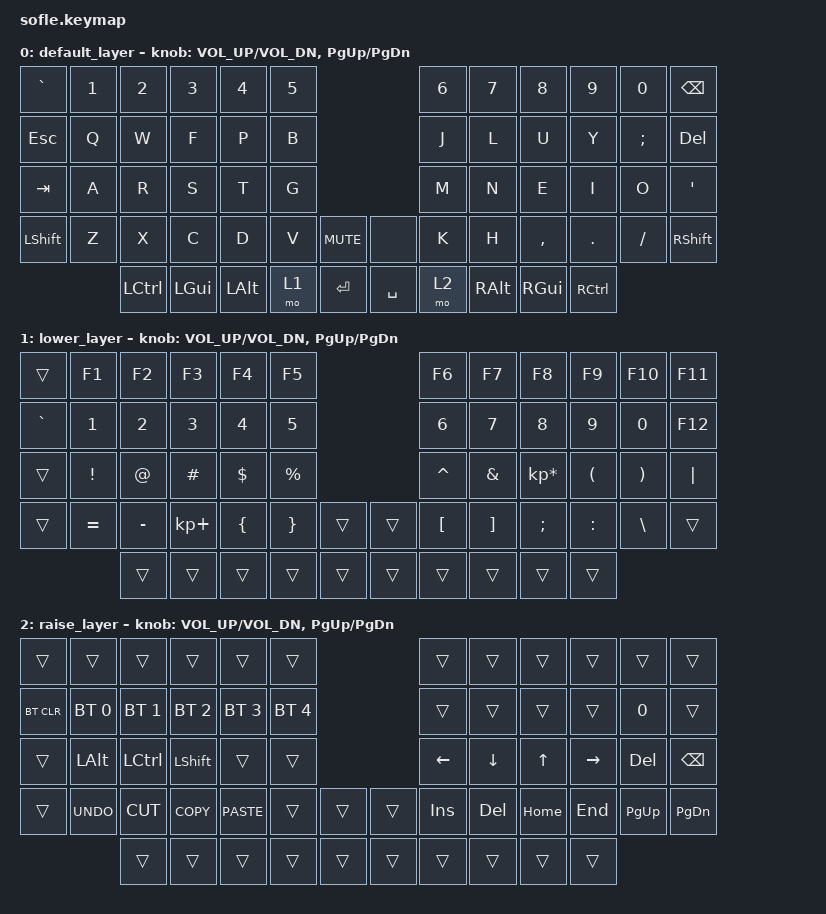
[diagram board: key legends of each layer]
/*
 * Copyright (c) 2020 The ZMK Contributors
 *
 * SPDX-License-Identifier: MIT
 */

#include <behaviors.dtsi>
#include <dt-bindings/zmk/keys.h>
#include <dt-bindings/zmk/bt.h>

/ {
    keymap {
        compatible = "zmk,keymap";

        default_layer {
// ------------------------------------------------------------------------------------------------------------
// |  `    |  1  |  2  |  3   |  4   |  5   |                   |  6   |  7    |  8    |  9   |   0   | BKSP  |
// |  ESC  |  Q  |  W  |  F   |  P   |  B   |                   |  J   |  L    |  U    |  Y   |   ;   |  DEL  |
// |  TAB  |  A  |  R  |  S   |  T   |  G   |                   |  M   |  N    |  E    |  I   |   O   |   '   |
// | SHIFT |  Z  |  X  |  C   |  D   |  V   |  MUTE  |  |       |  K   |  H    |  ,    |  .   |   /   | SHIFT |
//               | GUI | ALT  | CTRL | LOWER|  ENTER |  | SPACE | RAISE| CTRL  | ALT   | GUI  |
            bindings = <
&kp GRAVE &kp N1 &kp N2   &kp N3   &kp N4    &kp N5                      &kp N6 &kp N7    &kp N8    &kp N9   &kp N0   &kp BSPC
&kp ESC   &kp Q  &kp W    &kp F    &kp P     &kp B                       &kp J  &kp L     &kp U     &kp Y    &kp SEMI    &kp DEL
&kp TAB   &kp A  &kp R    &kp S    &kp T     &kp G                       &kp M  &kp N     &kp E     &kp I    &kp O &kp SQT
&kp LSHFT &kp Z  &kp X    &kp C    &kp D     &kp V  &kp C_MUTE &none     &kp K  &kp H     &kp COMMA &kp DOT  &kp FSLH &kp RSHFT
                 &kp LCTRL &kp LGUI &kp LALT &mo 1  &kp RET    &kp SPACE &mo 2  &kp RALT &kp RGUI  &kp RCTRL
            >;

            sensor-bindings = <&inc_dec_kp C_VOL_UP C_VOL_DN &inc_dec_kp PG_UP PG_DN>;
        };

        lower_layer {
// TODO: Some binds are waiting for shifted keycode support.
// ------------------------------------------------------------------------------------------------------------
// |       |  F1 |  F2 |  F3  |  F4  |  F5  |                   |  F6  |  F7   |  F8   |  F9  |  F10  |  F11  |
// | `     |   1 |   2 |   3  |   4  |   5  |                   |   6  |   7   |   8   |   9  |    0  |  F12  |
// |       |  !  |  @  |  #   |  $   |  %   |                   |  ^   |  &    |  *    |  (   |   )   |   |   |
// |       |  =  |  -  |  +   |  {   |  }   |        |  |       |  [   |  ]    |  ;    |  :   |   \   |       |
//               |     |      |      |      |        |  |       |      |       |       |      |
            bindings = <
&trans    &kp F1    &kp F2    &kp F3      &kp F4    &kp F5                    &kp F6    &kp F7   &kp F8          &kp F9    &kp F10   &kp F11
&kp GRAVE &kp N1    &kp N2    &kp N3      &kp N4    &kp N5                    &kp N6    &kp N7   &kp N8          &kp N9    &kp N0    &kp F12
&trans    &kp EXCL  &kp AT    &kp HASH    &kp DLLR  &kp PRCNT                 &kp CARET &kp AMPS &kp KP_MULTIPLY &kp LPAR  &kp RPAR  &kp PIPE
&trans    &kp EQUAL &kp MINUS &kp KP_PLUS &kp LBRC  &kp RBRC  &trans   &trans &kp LBKT  &kp RBKT &kp SEMI        &kp COLON &kp BSLH  &trans
                    &trans    &trans      &trans    &trans    &trans   &trans &trans    &trans   &trans          &trans
            >;

            sensor-bindings = <&inc_dec_kp C_VOL_UP C_VOL_DN &inc_dec_kp PG_UP PG_DN>;
        };

        raise_layer {
// ------------------------------------------------------------------------------------------------------------
// |     |      |      |       |       |      |                |      |      |       |      |       |       |
// |BTCLR| BT1  | BT2  |  BT3  |  BT4  |  BT5 |                |      |      |       |      |       |       |
// |     | ALT  | CTRL | SHIFT |       | CAPS |                |  <-  |   v  |   ^   |  ->  |  DEL  | BKSPC |
// |     | UNDO | CUT  | COPY  | PASTE |      |      |  |      | INS  | DEL  | HOME  | END  | PGUP  | PGDN  |
//              |      |       |       |      |      |  |      |      |      |       |      |
            bindings = <
&trans 		&trans 		&trans 		 &trans		  &trans 	    &trans            		&trans    &trans    &trans   &trans    &trans    &trans
&bt BT_CLR &bt BT_SEL 0 &bt BT_SEL 1 &bt BT_SEL 2 &bt BT_SEL 3 &bt BT_SEL 4             &trans    &trans    &trans   &trans    &kp N0    &trans
&trans     &kp LALT     &kp LCTRL    &kp LSHFT    &trans       &trans                   &kp LEFT  &kp DOWN  &kp UP   &kp RIGHT &kp DEL   &kp BSPC
&trans     &kp K_UNDO   &kp K_CUT    &kp K_COPY   &kp K_PASTE  &trans  &trans   &trans  &kp INS   &kp DEL   &kp HOME &kp END   &kp PG_UP &kp PG_DN
                        &trans       &trans       &trans       &trans  &trans   &trans  &trans    &trans    &trans   &trans
            >;

            sensor-bindings = <&inc_dec_kp C_VOL_UP C_VOL_DN &inc_dec_kp PG_UP PG_DN>;
        };
    };
};
 
